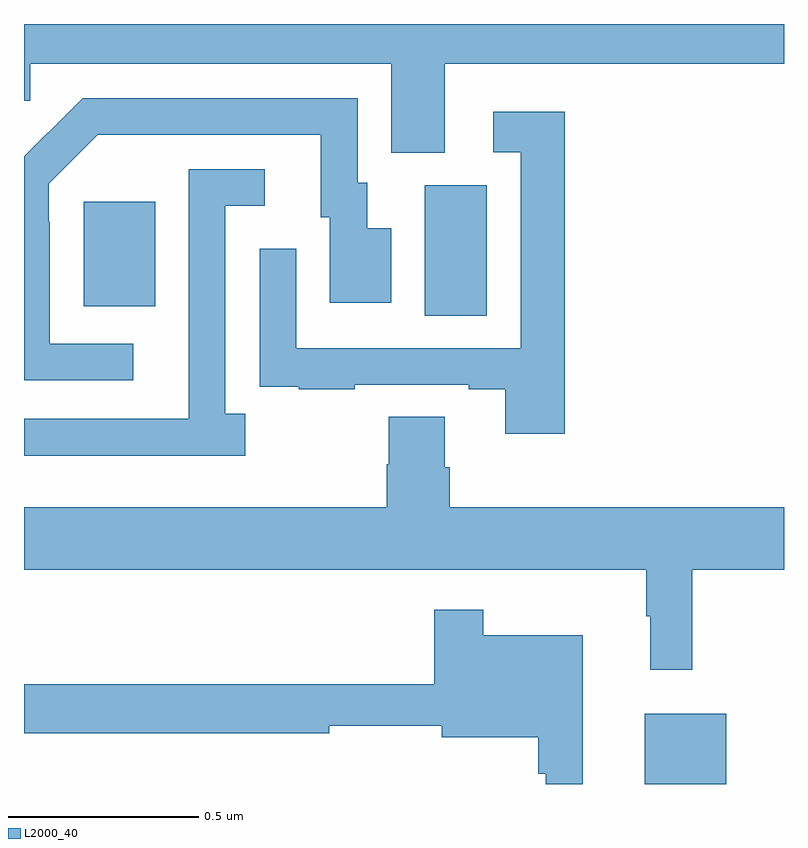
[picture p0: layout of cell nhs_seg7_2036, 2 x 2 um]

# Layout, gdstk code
import gdstk
lib = gdstk.Library(unit=1e-6, precision=1e-09)
def R(c, l, rs):  # rectangles x0, y0, x1, y1
    for r in rs: c.add(gdstk.rectangle(r[:2], r[2:], *l))
def P(c, l, *ps):  # polygons
    for p in ps: c.add(gdstk.Polygon(p, *l))
L2000_40 = (2000, 40)

nhs_seg7_2036 = lib.new_cell('nhs_seg7_2036')
R(nhs_seg7_2036, L2000_40, [(140.633,1052,140.848,1052.185), (140.054,1053.232,140.218,1053.576), (139.157,1053.257,139.345,1053.532)])
P(nhs_seg7_2036, L2000_40, [(140.107,1053.896),(141,1053.896),(141,1054),(139,1054),(139,1053.798),(139.017,1053.798),(139.017,1053.896),(139.967,1053.896),(139.967,1053.661),(140.107,1053.661)],
  [(139.288,1053.159),(139.068,1053.159),(139.068,1053.479),(139.065,1053.479),(139.065,1053.579),(139.194,1053.708),(139.781,1053.708),(139.781,1053.492),(139.805,1053.492),(139.805,1053.267),(139.966,1053.267),(139.966,1053.463),(139.903,1053.463),(139.903,1053.582),(139.878,1053.582),(139.878,1053.804),(139.154,1053.804),(139.063,1053.713),(139.062,1053.714),(139,1053.652),(139,1053.063),(139.288,1053.063)],
  [(140.423,1053.769),(140.235,1053.769),(140.235,1053.663),(140.307,1053.663),(140.307,1053.147),(139.716,1053.147),(139.716,1053.409),(139.62,1053.409),(139.62,1053.154),(139.621,1053.154),(139.621,1053.045),(139.723,1053.045),(139.723,1053.039),(139.871,1053.039),(139.871,1053.051),(140.171,1053.051),(140.171,1053.039),(140.267,1053.039),(140.267,1052.922),(140.423,1052.922)],
  [(139.582,1052.974),(139.53,1052.974),(139.53,1053.522),(139.633,1053.522),(139.633,1053.618),(139.434,1053.618),(139.434,1053.161),(139.433,1053.161),(139.433,1052.961),(139,1052.961),(139,1052.864),(139.582,1052.864)],
  [(140.758,1052.564),(141,1052.564),(141,1052.728),(140.12,1052.728),(140.12,1052.834),(140.107,1052.834),(140.107,1052.966),(139.96,1052.966),(139.96,1052.841),(139.955,1052.841),(139.955,1052.728),(139,1052.728),(139,1052.564),(140.637,1052.564),(140.637,1052.441),(140.648,1052.441),(140.648,1052.301),(140.758,1052.301)],
  [(140.47,1052.392),(140.209,1052.392),(140.209,1052.458),(140.08,1052.458),(140.08,1052.263),(139,1052.263),(139,1052.134),(139.803,1052.134),(139.803,1052.153),(140.099,1052.153),(140.099,1052.123),(140.353,1052.123),(140.353,1052.027),(140.373,1052.027),(140.373,1052),(140.47,1052)])

lib.write_gds('nhs_seg7_2036.gds')
